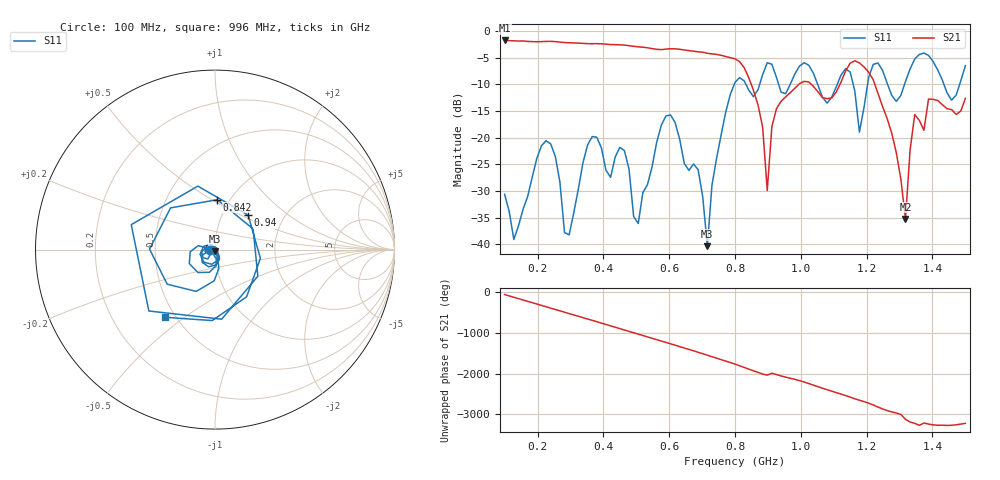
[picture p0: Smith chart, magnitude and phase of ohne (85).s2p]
! NanoVNA-App
! Date: 2025-09-25 14:21:27
! Start: 100MHz Stop: 1,5GHz Points: 101
! S-Parameter data: F S11 S21 S12 S22
# Hz S RI R 50
!  Frequency  S11_Real  S11_Imag  S21_Real  S21_Imag  S12_Real  S12_Imag  S22_Real  S22_Imag
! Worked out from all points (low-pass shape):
!   101 points, 100 MHz to 1.5 GHz, reference 50 ohm
!   highest |S21| = -1.79 dB at 100 MHz (marker M1); lowest = -35.3 dB at 1.318 GHz (marker M2)
!   |S21| within 3 dB of the highest: start of sweep to 771 MHz
!   lowest |S11| = -40.4 dB at 716 MHz (marker M3), VSWR 1.02, Z = 49.9 - j0.945 ohm
!   |S11| at or under -10 dB: start of sweep to 797.8 MHz; 833 MHz to 875 MHz (42.05 MHz wide, 4.92 % of centre); 1.051 GHz to 1.111 GHz (59.84 MHz wide, 5.54 % of centre) (the widest 3 of 7)
!   S12 and S22 are empty: the file has one direction only
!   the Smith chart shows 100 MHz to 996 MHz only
!   S11 on the Smith chart (normalised r, x): 100 MHz: 0.94, -0.01; 842 MHz: 0.88, +0.53; 940 MHz: 1.33, +0.55; 996 MHz: 0.44, -0.43
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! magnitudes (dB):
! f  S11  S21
! 100 MHz  -30.6  -1.8
! 128 MHz  -39.1  -1.9
! 226 MHz  -20.6  -2.0
! 296 MHz  -38.3  -2.2
! 338 MHz  -24.8  -2.3
! 464 MHz  -22.5  -2.7
! 506 MHz  -36.1  -3.0
! 576 MHz  -17.7  -3.5
! 688 MHz  -26.0  -3.9
! 716 MHz  -40.4  -4.2
! 800 MHz  -9.7  -5.2
! 842 MHz  -11.1  -8.8
! 898 MHz  -6.0  -29.9
! 940 MHz  -11.5  -13.2
! 996 MHz  -6.6  -9.9
! 1.038 GHz  -7.9  -10.4
! 1.178 GHz  -19.0  -6.0
! 1.22 GHz  -6.3  -9.2
! 1.276 GHz  -12.1  -19.1
! 1.318 GHz  -9.5  -35.3
! 1.346 GHz  -5.3  -15.7
! 1.5 GHz  -6.5  -12.7
